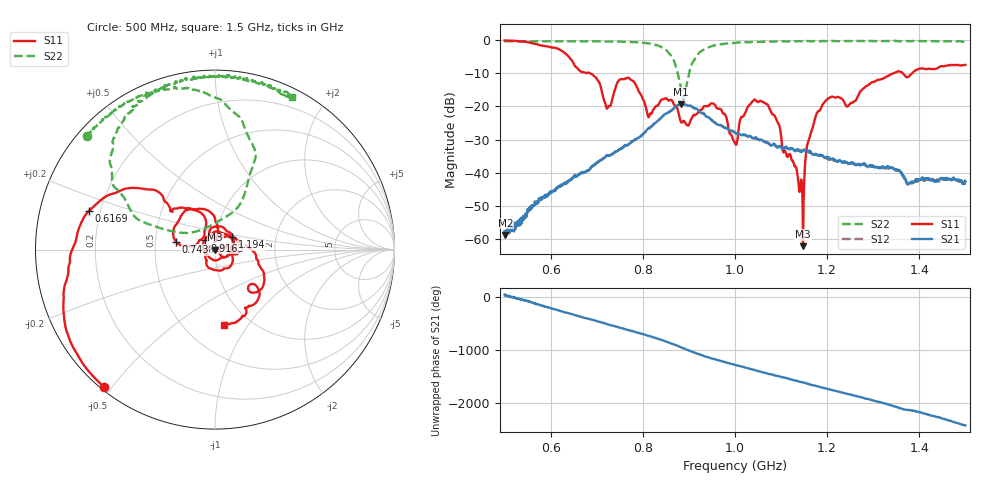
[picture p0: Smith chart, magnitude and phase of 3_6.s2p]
!Agilent Technologies,E8364B,US42250235,A.06.04.32
!Agilent E8364B: A.06.04.32
!Date: Friday, January 15, 2021 12:34:46
!Correction: S11(Full 2 Port(1,2)) S21(Full 2 Port(1,2)) S12(Full 2 Port(1,2)) S22(Full 2 Port(1,2))
!S2P File: Measurements: S11, S21, S12, S22:
# Hz S  dB  R 50
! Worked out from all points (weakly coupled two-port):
!   1601 points, 500 MHz to 1.5 GHz, reference 50 ohm
!   highest |S21| = -19.33 dB at 882.5 MHz (marker M1); lowest = -58.7 dB at 501.9 MHz (marker M2)
!   lowest |S11| = -62.1 dB at 1.147 GHz (marker M3), VSWR 1.00, Z = 50.1 - j0.055 ohm
!   |S11| at or under -10 dB: 685 MHz to 1.344 GHz (659 MHz wide, 65 % of centre); 1.364 GHz to 1.384 GHz (19.76 MHz wide, 1.44 % of centre)
!   |S22| runs from -17.7 to -0.2 dB; largest |S21 - S12| = 0.007
!   S11 on the Smith chart (normalised r, x): 500 MHz: 0.01, -0.48; 616.9 MHz: 0.16, +0.15; 743.8 MHz: 0.64, +0.06; 916.2 MHz: 0.89, +0.09; 1.194 GHz: 1.20, +0.17; 1.5 GHz: 0.76, -0.78
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5e8  -0.12 -128.9  -57.56 42.2  -57.43 32.7  -0.41 138.3
5.01875e8  -0.13 -129.6  -58.70 31.6  -58.73 27.4  -0.40 138.2
6.16875e8  -2.70 162.8  -44.11 104.0  -44.01 107.5  -0.36 127.9
6.66875e8  -9.56 138.9  -40.06 -18.4  -40.03 -15.8  -0.36 121.8
7.24375e8  -20.11 146.6  -34.80 -159.7  -34.74 -155.6  -0.44 114.1
7.4375e8  -13.11 168.6  -33.44 155.9  -33.50 158.5  -0.50 110.8
7.7875e8  -12.34 109.8  -30.42 71.4  -30.41 73.0  -0.60 104.1
8.1375e8  -22.94 98.6  -26.45 -16.1  -26.64 -12.5  -1.03 95.2
8.3375e8  -19.51 106.4  -24.15 -70.1  -24.22 -67.1  -1.67 86.7
8.64375e8  -18.47 27.8  -20.92 -163.0  -21.01 -159.2  -5.28 66.0
8.825e8  -24.61 -50.1  -19.33 132.6  -19.33 136.0  -14.42 72.0
9.1625e8  -22.36 138.2  -20.63 18.4  -20.81 21.4  -5.02 151.7
9.5375e8  -19.22 26.7  -24.65 -87.5  -24.60 -85.0  -1.64 133.6
1e9  -31.04 -26.7  -27.92 162.1  -27.86 166.1  -0.84 120.2
1.031875e9  -19.49 -23.0  -28.83 90.1  -29.19 93.4  -0.67 114.5
1.066875e9  -19.17 -98.7  -30.73 9.0  -30.58 11.0  -0.50 109.8
1.1475e9  -62.06 -44.1  -33.28 -164.8  -33.29 -165.6  -0.35 100.2
1.156875e9  -31.52 125.4  -33.51 170.0  -33.66 171.2  -0.29 99.6
1.166875e9  -27.05 88.0  -34.10 143.0  -34.11 149.1  -0.38 98.2
1.194375e9  -18.58 36.0  -35.41 83.6  -35.22 86.1  -0.29 95.2
1.33375e9  -10.63 -24.1  -38.14 135.0  -38.59 139.1  -0.30 81.9
1.5e9  -7.49 -83.1  -42.53 104.8  -43.22 103.6  -0.41 63.1
